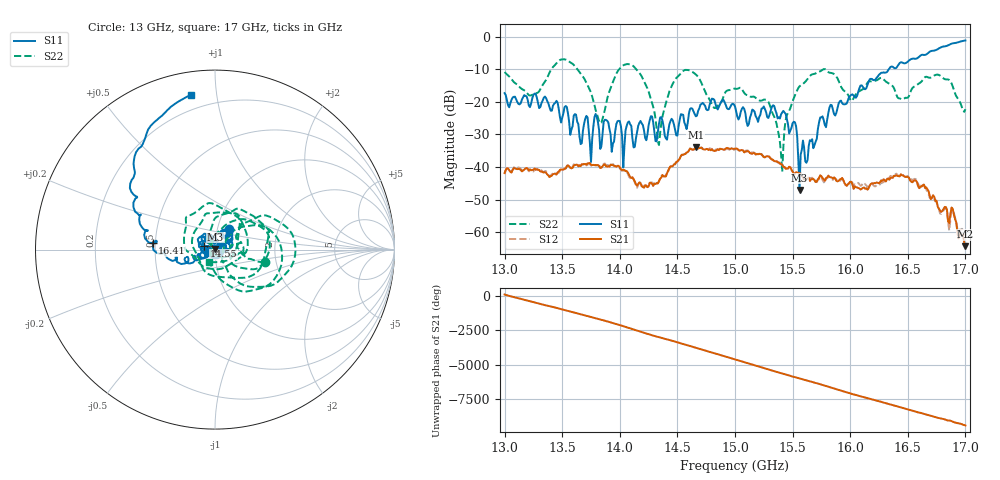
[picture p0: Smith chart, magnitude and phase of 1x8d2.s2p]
!Keysight Technologies,P9374A,MY57211807,A.19.30.04
!Date: Friday, May 08, 2026 15:17:24
!Correction: S11(C  2-Port  )
!S21(C  2-Port  )
!S12(C  2-Port  )
!S22(C  2-Port  )
!S2P File: Measurements: S11, S21, S12, S22:
# Hz S  dB  R 50
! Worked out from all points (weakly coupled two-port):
!   401 points, 13 GHz to 17 GHz, reference 50 ohm
!   highest |S21| = -33.98 dB at 14.66 GHz (marker M1); lowest = -64.3 dB at 17 GHz (marker M2)
!   lowest |S11| = -47.1 dB at 15.56 GHz (marker M3), VSWR 1.01, Z = 50.2 + j0.4 ohm
!   |S11| at or under -10 dB: start of sweep to 16.34 GHz
!   |S22| runs from -41.4 to -7.0 dB; largest |S21 - S12| = 0.0014
!   S11 on the Smith chart (normalised r, x): 13 GHz: 1.13, +0.26; 14.55 GHz: 0.89, +0.04; 16.41 GHz: 0.48, +0.04; 17 GHz: 0.12, +0.85
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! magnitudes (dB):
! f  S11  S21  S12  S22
! 13 GHz  -17.3  -41.8  -42.2  -10.9
! 13.23 GHz  -20.6  -41.0  -41.1  -18.0
! 13.49 GHz  -26.4  -40.7  -41.1  -7.0
! 13.67 GHz  -32.7  -39.1  -39.2  -11.8
! 13.83 GHz  -34.5  -40.3  -40.0  -26.6
! 13.98 GHz  -25.9  -39.6  -39.8  -10.7
! 14.11 GHz  -31.4  -43.1  -43.2  -8.8
! 14.34 GHz  -26.8  -44.4  -44.5  -33.3
! 14.55 GHz  -24.0  -36.3  -36.3  -10.6
! 14.66 GHz  -24.5  -34.0  -34.0  -11.6
! 14.82 GHz  -19.4  -35.1  -35.1  -21.9
! 15 GHz  -21.4  -34.4  -34.6  -15.9
! 15.28 GHz  -24.7  -36.7  -36.7  -19.7
! 15.4 GHz  -23.8  -39.1  -39.0  -36.1
! 15.52 GHz  -26.2  -42.1  -41.9  -18.0
! 15.56 GHz  -47.1  -41.9  -41.6  -15.3
! 15.67 GHz  -31.5  -43.7  -43.3  -11.6
! 16.01 GHz  -17.8  -44.5  -44.3  -19.8
! 16.34 GHz  -9.8  -43.9  -43.2  -14.5
! 16.41 GHz  -9.1  -42.7  -42.4  -18.6
! 16.76 GHz  -3.9  -52.1  -52.1  -11.7
! 17 GHz  -1.2  -64.3  -60.9  -22.3
